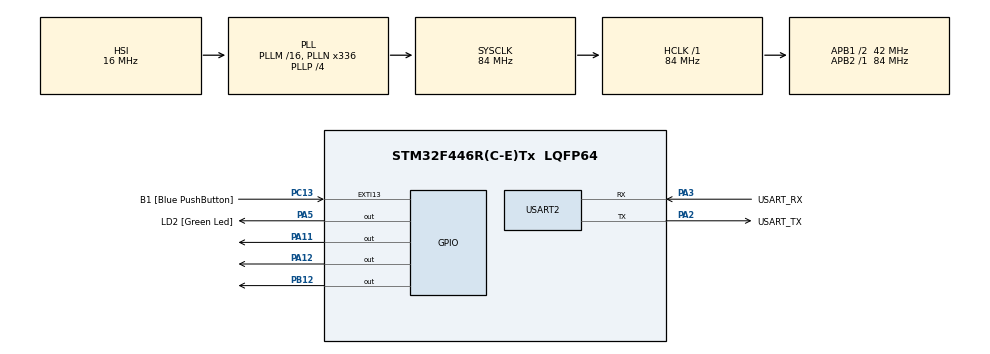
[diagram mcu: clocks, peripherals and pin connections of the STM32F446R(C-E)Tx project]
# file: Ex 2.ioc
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Mcu.Family=STM32F4
Mcu.Name=STM32F446R(C-E)Tx
Mcu.Package=LQFP64
NVIC.PriorityGroup=NVIC_PRIORITYGROUP_0
PA11.Signal=GPIO_Output
PA12.Signal=GPIO_Output
PA13.GPIO_Label=TMS
PA13.Mode=Serial_Wire
PA13.Signal=SYS_JTMS-SWDIO
PA14.GPIO_Label=TCK
PA14.Mode=Serial_Wire
PA14.Signal=SYS_JTCK-SWCLK
PA2.GPIO_Label=USART_TX
PA2.Mode=Asynchronous
PA2.Signal=USART2_TX
PA3.GPIO_Label=USART_RX
PA3.Mode=Asynchronous
PA3.Signal=USART2_RX
PA5.GPIO_Label=LD2 [Green Led]
PA5.Signal=GPIO_Output
PB12.Signal=GPIO_Output
PB3.GPIO_Label=SWO
PB3.Signal=SYS_JTDO-SWO
PC13.GPIO_Label=B1 [Blue PushButton]
PC13.GPIO_ModeDefaultEXTI=GPIO_MODE_IT_FALLING
PC13.Signal=GPXTI13
PC14-OSC32_IN.Mode=LSE-External-Oscillator
PC14-OSC32_IN.Signal=RCC_OSC32_IN
PC15-OSC32_OUT.Mode=LSE-External-Oscillator
PC15-OSC32_OUT.Signal=RCC_OSC32_OUT
PH0-OSC_IN.Mode=HSE-External-Oscillator
PH0-OSC_IN.Signal=RCC_OSC_IN
PH1-OSC_OUT.Mode=HSE-External-Oscillator
PH1-OSC_OUT.Signal=RCC_OSC_OUT
ProjectManager.HeapSize=0x200
ProjectManager.StackSize=0x400
ProjectManager.TargetToolchain=STM32CubeIDE
RCC.48MHZClocksFreq_Value=84000000
RCC.AHBFreq_Value=84000000
RCC.APB1CLKDivider=RCC_HCLK_DIV2
RCC.APB1Freq_Value=42000000
RCC.APB1TimFreq_Value=84000000
RCC.APB2Freq_Value=84000000
RCC.APB2TimFreq_Value=84000000
RCC.CortexFreq_Value=84000000
RCC.FLatency-AdvancedSettings=FLASH_LATENCY_2
RCC.HCLKFreq_Value=84000000
RCC.HSE_VALUE=8000000
RCC.HSI_VALUE=16000000
RCC.PLLN=336
RCC.PLLP=RCC_PLLP_DIV4
RCC.SYSCLKFreq_VALUE=84000000
RCC.SYSCLKSource=RCC_SYSCLKSOURCE_PLLCLK
RCC.USBFreq_Value=168000000
RCC.VCOOutputFreq_Value=336000000
USART2.VirtualMode=VM_ASYNC
board=NUCLEO-F446RE

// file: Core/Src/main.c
/* USER CODE BEGIN Header */
/**
  ******************************************************************************
  * @file           : main.c
  * @brief          : Main program body
  ******************************************************************************
  * @attention
  *
  * Copyright (c) 2025 STMicroelectronics.
  * All rights reserved.
  *
  * This software is licensed under terms that can be found in the LICENSE file
  * in the root directory of this software component.
  * If no LICENSE file comes with this software, it is provided AS-IS.
  *
  ******************************************************************************
  */
/* USER CODE END Header */
#include "main.h"

UART_HandleTypeDef huart2;

void SystemClock_Config(void);
static void MX_GPIO_Init(void);
static void MX_USART2_UART_Init(void);

int main(void)
{

  /* MCU Configuration--------------------------------------------------------*/

  /* Reset of all peripherals, Initializes the Flash interface and the Systick. */
  HAL_Init();

  /* Configure the system clock */
  SystemClock_Config();

  /* Initialize all configured peripherals */
  MX_GPIO_Init();
  MX_USART2_UART_Init();

  /* Infinite loop */
  /* USER CODE BEGIN WHILE */

  // HAL method of interacting with pins
  void HAL_reading(){
	  while(1){
		  if(HAL_GPIO_ReadPin(B1_GPIO_Port, B1_Pin) == GPIO_PIN_RESET)		// button pressed
		  {
			  HAL_GPIO_WritePin(LD2_GPIO_Port, LD2_Pin, GPIO_PIN_SET);		// LED on
		  }else
		  {
			  HAL_GPIO_WritePin(LD2_GPIO_Port, LD2_Pin, GPIO_PIN_RESET);	// else, LED off
		  }
	  }
  }

  // CMSIS method of interacting with pins
  void CMSIS_reading(){
	  if(((GPIO_PIN_13 & GPIOC->IDR) >> GPIO_IDR_ID13_Pos) !=1)        		// button pressed
	  {
		  GPIOA->ODR |= GPIO_PIN_5; 										// LED on
	  }else
	  {
		  GPIOA->ODR &= ~GPIO_PIN_5; 										// else, LED off
	  }
  }

  // direct register interaction with pins
  void MEM_reading(){
	  if(((*(int *) 0x40020810 & 0x2000) >> 13) !=1) 						// button pressed
	  {
		  *(int *) 0x40020014 |= 0x0020; 									// LED on
	  }else
	  {
		  *(int *) 0x40020014 &= ~0x0020; 									// else, LED off
	  }
  }

  // toggle on/off light function using CMSIS and edge detection
  void toggle_LED(){
	  static uint8_t prev_state = 1;	// previous button state, static retains the value of the prev state
	  uint8_t current_state;			// current button state

	  current_state = ((GPIO_PIN_13 & GPIOC->IDR) >> GPIO_IDR_ID13_Pos); // detect current state

	  if(prev_state == 1 && current_state == 0) // if prev state is off (1) and current state is on (0)
	  {
	      GPIOA->ODR ^= GPIO_PIN_5; // XOR to flip the state the LED currently is in
	  }

	  prev_state = current_state; // store the current state as the previous
  }

  // when button is pressed set PA5, PA12, PA11 and PB12 high with 250ms delay between, then turn all off
  void trailing_rise(){
	  static uint8_t prev_state = 1;	// previous button state, static retains the value of the prev state
	  uint8_t current_state;			// current button state

	  current_state = ((GPIO_PIN_13 & GPIOC->IDR) >> GPIO_IDR_ID13_Pos); // detect current state

	  // stops user from activating button press during process
	  if(prev_state == 1 && current_state == 0) // if prev state is off (1) and current state is on (0)
	  {
		  GPIOA->ODR |= GPIO_PIN_5;		// LED on
		  HAL_Delay(250);
		  GPIOA->ODR |= GPIO_PIN_12;	// PA12 on
		  HAL_Delay(250);
		  GPIOA->ODR |= GPIO_PIN_11;	// PA11 on
		  HAL_Delay(250);
		  GPIOB->ODR |= GPIO_PIN_12;	// PB12 on
		  HAL_Delay(250);

		  // all off
		  GPIOA->ODR &= ~(GPIO_PIN_5 | GPIO_PIN_12 | GPIO_PIN_11);
		  GPIOB->ODR &= ~GPIO_PIN_12;
	  }

	  prev_state = current_state; // store the current state as the previous
  }

  while (1)
  {
    /* USER CODE END WHILE */

	  //comment / un-comment to switch method
	  //HAL_reading();
	  //CMSIS_reading();
	  //MEM_reading();
	  //toggle_LED();
	  trailing_rise();

  }
}

void SystemClock_Config(void)
{
  RCC_OscInitTypeDef RCC_OscInitStruct = {0};
  RCC_ClkInitTypeDef RCC_ClkInitStruct = {0};

  /** Configure the main internal regulator output voltage
  */
  __HAL_RCC_PWR_CLK_ENABLE();
  __HAL_PWR_VOLTAGESCALING_CONFIG(PWR_REGULATOR_VOLTAGE_SCALE3);

  /** Initializes the RCC Oscillators according to the specified parameters
  * in the RCC_OscInitTypeDef structure.
  */
  RCC_OscInitStruct.OscillatorType = RCC_OSCILLATORTYPE_HSI;
  RCC_OscInitStruct.HSIState = RCC_HSI_ON;
  RCC_OscInitStruct.HSICalibrationValue = RCC_HSICALIBRATION_DEFAULT;
  RCC_OscInitStruct.PLL.PLLState = RCC_PLL_ON;
  RCC_OscInitStruct.PLL.PLLSource = RCC_PLLSOURCE_HSI;
  RCC_OscInitStruct.PLL.PLLM = 16;
  RCC_OscInitStruct.PLL.PLLN = 336;
  RCC_OscInitStruct.PLL.PLLP = RCC_PLLP_DIV4;
  RCC_OscInitStruct.PLL.PLLQ = 2;
  RCC_OscInitStruct.PLL.PLLR = 2;
  if (HAL_RCC_OscConfig(&RCC_OscInitStruct) != HAL_OK)
  {
    Error_Handler();
  }

  /** Initializes the CPU, AHB and APB buses clocks
  */
  RCC_ClkInitStruct.ClockType = RCC_CLOCKTYPE_HCLK|RCC_CLOCKTYPE_SYSCLK
                              |RCC_CLOCKTYPE_PCLK1|RCC_CLOCKTYPE_PCLK2;
  RCC_ClkInitStruct.SYSCLKSource = RCC_SYSCLKSOURCE_PLLCLK;
  RCC_ClkInitStruct.AHBCLKDivider = RCC_SYSCLK_DIV1;
  RCC_ClkInitStruct.APB1CLKDivider = RCC_HCLK_DIV2;
  RCC_ClkInitStruct.APB2CLKDivider = RCC_HCLK_DIV1;

  if (HAL_RCC_ClockConfig(&RCC_ClkInitStruct, FLASH_LATENCY_2) != HAL_OK)
  {
    Error_Handler();
  }
}

static void MX_USART2_UART_Init(void)
{

  huart2.Instance = USART2;
  huart2.Init.BaudRate = 115200;
  huart2.Init.WordLength = UART_WORDLENGTH_8B;
  huart2.Init.StopBits = UART_STOPBITS_1;
  huart2.Init.Parity = UART_PARITY_NONE;
  huart2.Init.Mode = UART_MODE_TX_RX;
  huart2.Init.HwFlowCtl = UART_HWCONTROL_NONE;
  huart2.Init.OverSampling = UART_OVERSAMPLING_16;
  if (HAL_UART_Init(&huart2) != HAL_OK)
  {
    Error_Handler();
  }

}

static void MX_GPIO_Init(void)
{
  GPIO_InitTypeDef GPIO_InitStruct = {0};

  /* GPIO Ports Clock Enable */
  __HAL_RCC_GPIOC_CLK_ENABLE();
  __HAL_RCC_GPIOH_CLK_ENABLE();
  __HAL_RCC_GPIOA_CLK_ENABLE();
  __HAL_RCC_GPIOB_CLK_ENABLE();

  /*Configure GPIO pin Output Level */
  HAL_GPIO_WritePin(GPIOA, LD2_Pin|GPIO_PIN_11|GPIO_PIN_12, GPIO_PIN_RESET);

  /*Configure GPIO pin Output Level */
  HAL_GPIO_WritePin(GPIOB, GPIO_PIN_12, GPIO_PIN_RESET);

  /*Configure GPIO pin : B1_Pin */
  GPIO_InitStruct.Pin = B1_Pin;
  GPIO_InitStruct.Mode = GPIO_MODE_IT_FALLING;
  GPIO_InitStruct.Pull = GPIO_NOPULL;
  HAL_GPIO_Init(B1_GPIO_Port, &GPIO_InitStruct);

  /*Configure GPIO pins : LD2_Pin PA11 PA12 */
  GPIO_InitStruct.Pin = LD2_Pin|GPIO_PIN_11|GPIO_PIN_12;
  GPIO_InitStruct.Mode = GPIO_MODE_OUTPUT_PP;
  GPIO_InitStruct.Pull = GPIO_NOPULL;
  GPIO_InitStruct.Speed = GPIO_SPEED_FREQ_LOW;
  HAL_GPIO_Init(GPIOA, &GPIO_InitStruct);

  /*Configure GPIO pin : PB12 */
  GPIO_InitStruct.Pin = GPIO_PIN_12;
  GPIO_InitStruct.Mode = GPIO_MODE_OUTPUT_PP;
  GPIO_InitStruct.Pull = GPIO_NOPULL;
  GPIO_InitStruct.Speed = GPIO_SPEED_FREQ_LOW;
  HAL_GPIO_Init(GPIOB, &GPIO_InitStruct);

}

void Error_Handler(void)
{
  __disable_irq();
  while (1)
  {
  }
}
